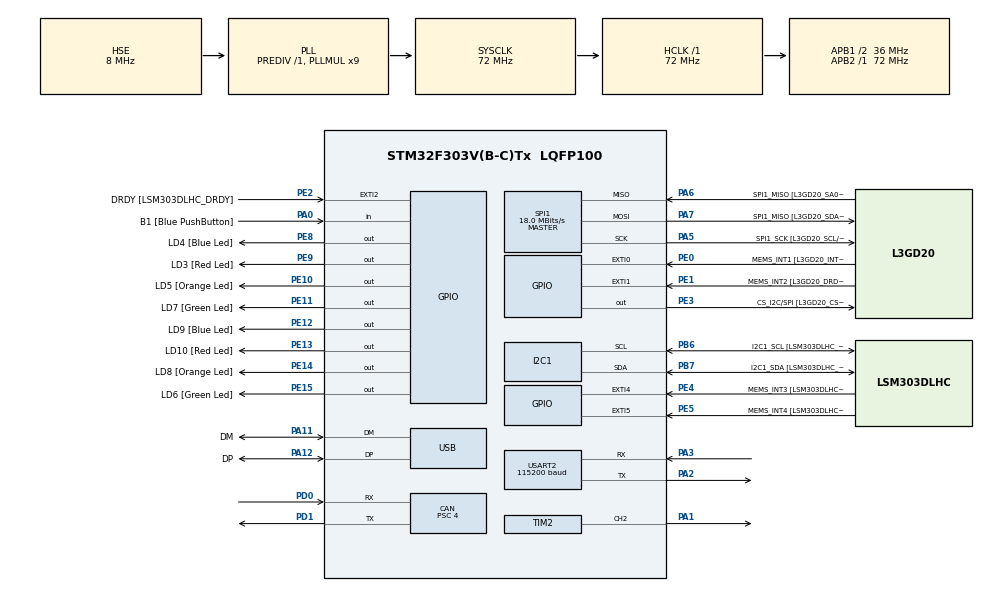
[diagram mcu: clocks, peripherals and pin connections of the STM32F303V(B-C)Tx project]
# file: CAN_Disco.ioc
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CAN.ABOM=ENABLE
CAN.BS1=CAN_BS1_13TQ
CAN.BS2=CAN_BS2_4TQ
CAN.CalculateBaudRate=500000
CAN.CalculateTimeBit=2000
CAN.CalculateTimeQuantum=111.11111111111111
CAN.NART=ENABLE
CAN.Prescaler=4
I2C1.Timing-I2C=0x2000090E
Mcu.Family=STM32F3
Mcu.Name=STM32F303V(B-C)Tx
Mcu.Package=LQFP100
NVIC.CAN_RX1_IRQn=true\:0\:0\:false\:false\:true\:true\:true\:true
NVIC.CAN_SCE_IRQn=true\:0\:0\:false\:false\:true\:true\:true\:true
NVIC.PriorityGroup=NVIC_PRIORITYGROUP_0
NVIC.USB_HP_CAN_TX_IRQn=true\:0\:0\:false\:false\:true\:true\:true\:true
NVIC.USB_LP_CAN_RX0_IRQn=true\:0\:0\:false\:false\:true\:true\:true\:true
PA0.GPIO_Label=B1 [Blue PushButton]
PA0.Signal=GPIO_Input
PA1.Signal=S_TIM2_CH2
PA11.GPIO_Label=DM
PA11.Mode=Device
PA11.Signal=USB_DM
PA12.GPIO_Label=DP
PA12.Mode=Device
PA12.Signal=USB_DP
PA13.GPIO_Label=SWDIO
PA13.Mode=Serial_Wire
PA13.Signal=SYS_JTMS-SWDIO
PA14.GPIO_Label=SWCLK
PA14.Mode=Serial_Wire
PA14.Signal=SYS_JTCK-SWCLK
PA2.Mode=Asynchronous
PA2.Signal=USART2_TX
PA3.Mode=Asynchronous
PA3.Signal=USART2_RX
PA5.GPIO_Label=SPI1_SCK [L3GD20_SCL/SPC]
PA5.Mode=Full_Duplex_Master
PA5.Signal=SPI1_SCK
PA6.GPIO_Label=SPI1_MISO [L3GD20_SA0/SDO]
PA6.Mode=Full_Duplex_Master
PA6.Signal=SPI1_MISO
PA7.GPIO_Label=SPI1_MISO [L3GD20_SDA/SDI/SDO]
PA7.Mode=Full_Duplex_Master
PA7.Signal=SPI1_MOSI
PB3.GPIO_Label=SWO
PB3.Signal=SYS_JTDO-TRACESWO
PB6.GPIO_Label=I2C1_SCL [LSM303DLHC_SCL]
PB6.GPIO_Pu=GPIO_PULLUP
PB6.Mode=I2C
PB6.Signal=I2C1_SCL
PB7.GPIO_Label=I2C1_SDA [LSM303DLHC_SDA]
PB7.GPIO_Pu=GPIO_PULLUP
PB7.Mode=I2C
PB7.Signal=I2C1_SDA
PC14-OSC32_IN.GPIO_Label=OSC32_IN
PC14-OSC32_IN.Signal=RCC_OSC32_IN
PC15-OSC32_OUT.GPIO_Label=OSC32_OUT
PC15-OSC32_OUT.Signal=RCC_OSC32_OUT
PD0.Mode=CAN_Activate
PD0.Signal=CAN_RX
PD1.Mode=CAN_Activate
PD1.Signal=CAN_TX
PE0.GPIO_Label=MEMS_INT1 [L3GD20_INT1]
PE0.GPIO_ModeDefaultEXTI=GPIO_MODE_EVT_RISING
PE0.Signal=GPXTI0
PE1.GPIO_Label=MEMS_INT2 [L3GD20_DRDY/INT2]
PE1.GPIO_ModeDefaultEXTI=GPIO_MODE_EVT_RISING
PE1.Signal=GPXTI1
PE10.GPIO_Label=LD5 [Orange Led]
PE10.Signal=GPIO_Output
PE11.GPIO_Label=LD7 [Green Led]
PE11.Signal=GPIO_Output
PE12.GPIO_Label=LD9 [Blue Led]
PE12.Signal=GPIO_Output
PE13.GPIO_Label=LD10 [Red Led]
PE13.Signal=GPIO_Output
PE14.GPIO_Label=LD8 [Orange Led]
PE14.Signal=GPIO_Output
PE15.GPIO_Label=LD6 [Green Led]
PE15.Signal=GPIO_Output
PE2.GPIO_Label=DRDY [LSM303DLHC_DRDY]
PE2.GPIO_ModeDefaultEXTI=GPIO_MODE_EVT_RISING
PE2.Signal=GPXTI2
PE3.GPIO_Label=CS_I2C/SPI [L3GD20_CS_I2C/SPI]
PE3.Signal=GPIO_Output
PE4.GPIO_Label=MEMS_INT3 [LSM303DLHC_INT1]
PE4.GPIO_ModeDefaultEXTI=GPIO_MODE_EVT_RISING
PE4.Signal=GPXTI4
PE5.GPIO_Label=MEMS_INT4 [LSM303DLHC_INT2]
PE5.GPIO_ModeDefaultEXTI=GPIO_MODE_EVT_RISING
PE5.Signal=GPXTI5
PE8.GPIO_Label=LD4 [Blue Led]
PE8.Signal=GPIO_Output
PE9.GPIO_Label=LD3 [Red Led]
PE9.Signal=GPIO_Output
PF0-OSC_IN.GPIO_Label=OSC_IN
PF0-OSC_IN.Mode=HSE-External-Clock-Source
PF0-OSC_IN.Signal=RCC_OSC_IN
PF1-OSC_OUT.GPIO_Label=OSC_OUT
PF1-OSC_OUT.Signal=RCC_OSC_OUT
ProjectManager.HeapSize=0x200
ProjectManager.StackSize=0x400
ProjectManager.TargetToolchain=STM32CubeIDE
RCC.AHBFreq_Value=72000000
RCC.APB1CLKDivider=RCC_HCLK_DIV2
RCC.APB1Freq_Value=36000000
RCC.APB1TimFreq_Value=72000000
RCC.APB2Freq_Value=72000000
RCC.APB2TimFreq_Value=72000000
RCC.CortexFreq_Value=72000000
RCC.HCLKFreq_Value=72000000
RCC.HSE_VALUE=8000000
RCC.HSI_VALUE=8000000
RCC.LSE_VALUE=32768
RCC.PLLMUL=RCC_PLL_MUL9
RCC.PRESCALERUSB=RCC_USBCLKSOURCE_PLL_DIV1_5
RCC.SYSCLKFreq_VALUE=72000000
RCC.SYSCLKSourceVirtual=RCC_SYSCLKSOURCE_PLLCLK
RCC.USBFreq_Value=48000000
SH.S_TIM2_CH2.0=TIM2_CH2,PWM Generation2 CH2
SPI1.BaudRatePrescaler=SPI_BAUDRATEPRESCALER_4
SPI1.BaudRatePrescaler-Full_Duplex_Master=SPI_BAUDRATEPRESCALER_2
SPI1.CalculateBaudRate=18.0 MBits/s
SPI1.CalculateBaudRate-Full_Duplex_Master=24.0 MBits/s
SPI1.Direction=SPI_DIRECTION_2LINES
SPI1.Mode=SPI_MODE_MASTER
SPI1.Mode-Full_Duplex_Master=SPI_MODE_MASTER
SPI1.VirtualType=VM_MASTER
TIM2.Channel-PWM\ Generation2\ CH2=TIM_CHANNEL_2
TIM2.Period=999
TIM2.Prescaler=71
TIM2.Pulse-PWM\ Generation2\ CH2=500
USART2.BaudRate=115200
USART2.VirtualMode-Asynchronous=VM_ASYNC
VP_TIM2_VS_ClockSourceINT.Mode=Internal
board=STM32F3DISCOVERY

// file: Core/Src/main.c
/* USER CODE BEGIN Header */
/**
  ******************************************************************************
  * @file           : main.c
  * @brief          : Main program body
  ******************************************************************************
  * @attention
  *
  * Copyright (c) 2025 STMicroelectronics.
  * All rights reserved.
  *
  * This software is licensed under terms that can be found in the LICENSE file
  * in the root directory of this software component.
  * If no LICENSE file comes with this software, it is provided AS-IS.
  *
  ******************************************************************************
  */
/* USER CODE END Header */
#include "main.h"
#include "can.h"
#include "i2c.h"
#include "spi.h"
#include "tim.h"
#include "usart.h"
#include "usb.h"
#include "gpio.h"

/* USER CODE BEGIN Includes */
#include <stdint.h>
#include <stdio.h>
#include "can_driver.h"

/* USER CODE END Includes */

void SystemClock_Config(void);

/* USER CODE BEGIN 0 */
void __io_putchar(uint8_t ch) {
    HAL_UART_Transmit(&huart2, &ch, 1, 1);
}
/* USER CODE END 0 */

int main(void)
{

  /* MCU Configuration--------------------------------------------------------*/

  /* Reset of all peripherals, Initializes the Flash interface and the Systick. */
  HAL_Init();

  /* Configure the system clock */
  SystemClock_Config();

  /* Initialize all configured peripherals */
  MX_GPIO_Init();
  MX_I2C1_Init();
  MX_SPI1_Init();
  MX_USB_PCD_Init();
  MX_CAN_Init();
  MX_USART2_UART_Init();
  MX_TIM2_Init();
  /* USER CODE BEGIN 2 */
  uint8_t light_level=0;
#if IS_SENDER != 1
  CAN_ConfigFilter(); // Config receiver filter
  HAL_TIM_PWM_Start(&htim2, TIM_CHANNEL_2);
#endif

  if (HAL_CAN_Start(&hcan) != HAL_OK)
  {
      Error_Handler();
  }
  HAL_CAN_ActivateNotification(&hcan, CAN_IT_RX_FIFO0_MSG_PENDING);

  /* USER CODE END 2 */

  /* Infinite loop */
  /* USER CODE BEGIN WHILE */
  while (1)
  {

#if IS_SENDER == 1
	  light_level = uart_efr32_get_luminosity();
	  printf("\nLEVEL: %d\n",light_level);
	  CAN_SendSensorState(light_level);
#else
	  light_level = get_latest_luminosity();
	  if (light_level==0) // VERY LOW LIGHT ENV
		  __HAL_TIM_SET_COMPARE(&htim2, TIM_CHANNEL_2, 900); //90% duty cycle
	  else if (light_level==1) //LOW LIGHT ENV
		  __HAL_TIM_SET_COMPARE(&htim2, TIM_CHANNEL_2, 400); //40% duty cycle
	  else
		  __HAL_TIM_SET_COMPARE(&htim2, TIM_CHANNEL_2, 50); //5% duty cycle
#endif
	  HAL_Delay(1000);
    /* USER CODE END WHILE */

  }
}

void SystemClock_Config(void)
{
  RCC_OscInitTypeDef RCC_OscInitStruct = {0};
  RCC_ClkInitTypeDef RCC_ClkInitStruct = {0};
  RCC_PeriphCLKInitTypeDef PeriphClkInit = {0};

  /** Initializes the RCC Oscillators according to the specified parameters
  * in the RCC_OscInitTypeDef structure.
  */
  RCC_OscInitStruct.OscillatorType = RCC_OSCILLATORTYPE_HSI|RCC_OSCILLATORTYPE_HSE;
  RCC_OscInitStruct.HSEState = RCC_HSE_BYPASS;
  RCC_OscInitStruct.HSEPredivValue = RCC_HSE_PREDIV_DIV1;
  RCC_OscInitStruct.HSIState = RCC_HSI_ON;
  RCC_OscInitStruct.HSICalibrationValue = RCC_HSICALIBRATION_DEFAULT;
  RCC_OscInitStruct.PLL.PLLState = RCC_PLL_ON;
  RCC_OscInitStruct.PLL.PLLSource = RCC_PLLSOURCE_HSE;
  RCC_OscInitStruct.PLL.PLLMUL = RCC_PLL_MUL9;
  if (HAL_RCC_OscConfig(&RCC_OscInitStruct) != HAL_OK)
  {
    Error_Handler();
  }

  /** Initializes the CPU, AHB and APB buses clocks
  */
  RCC_ClkInitStruct.ClockType = RCC_CLOCKTYPE_HCLK|RCC_CLOCKTYPE_SYSCLK
                              |RCC_CLOCKTYPE_PCLK1|RCC_CLOCKTYPE_PCLK2;
  RCC_ClkInitStruct.SYSCLKSource = RCC_SYSCLKSOURCE_PLLCLK;
  RCC_ClkInitStruct.AHBCLKDivider = RCC_SYSCLK_DIV1;
  RCC_ClkInitStruct.APB1CLKDivider = RCC_HCLK_DIV2;
  RCC_ClkInitStruct.APB2CLKDivider = RCC_HCLK_DIV1;

  if (HAL_RCC_ClockConfig(&RCC_ClkInitStruct, FLASH_LATENCY_2) != HAL_OK)
  {
    Error_Handler();
  }
  PeriphClkInit.PeriphClockSelection = RCC_PERIPHCLK_USB|RCC_PERIPHCLK_USART2
                              |RCC_PERIPHCLK_I2C1;
  PeriphClkInit.Usart2ClockSelection = RCC_USART2CLKSOURCE_PCLK1;
  PeriphClkInit.I2c1ClockSelection = RCC_I2C1CLKSOURCE_HSI;
  PeriphClkInit.USBClockSelection = RCC_USBCLKSOURCE_PLL_DIV1_5;
  if (HAL_RCCEx_PeriphCLKConfig(&PeriphClkInit) != HAL_OK)
  {
    Error_Handler();
  }
}

void Error_Handler(void)
{
  __disable_irq();
  while (1)
  {
  }
}
